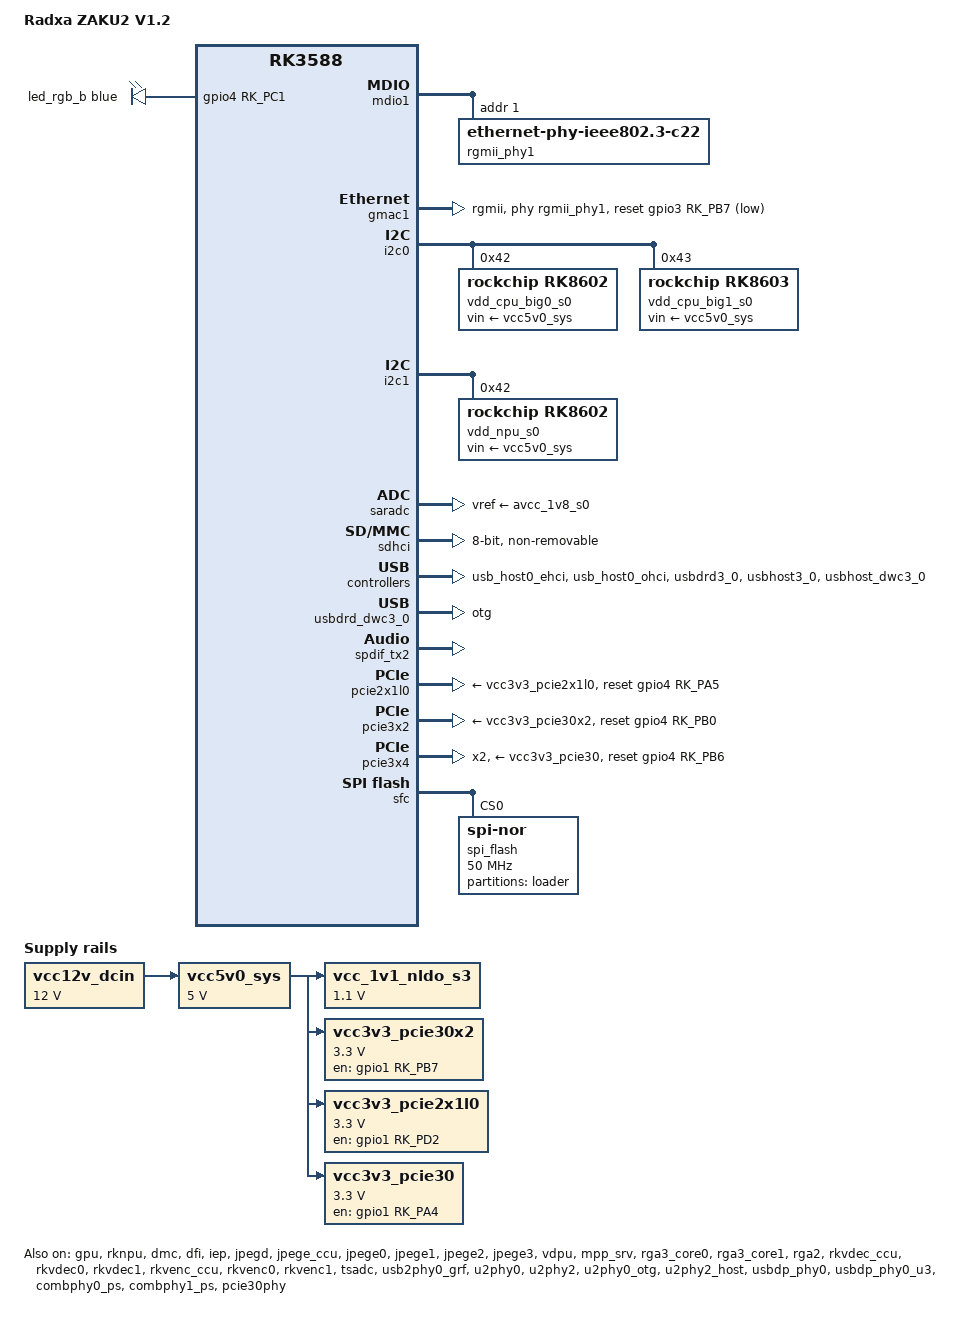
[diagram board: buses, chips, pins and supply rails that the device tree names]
// SPDX-License-Identifier: (GPL-2.0+ OR MIT)
/*
 * Copyright (c) 2023 Rockchip Electronics Co., Ltd.
 * Copyright (c) 2023 Radxa Limited
 *
 */

/dts-v1/;

#include <dt-bindings/gpio/gpio.h>
#include <dt-bindings/leds/common.h>
#include <dt-bindings/pwm/pwm.h>
#include <dt-bindings/pinctrl/rockchip.h>
#include <dt-bindings/input/rk-input.h>
#include <dt-bindings/display/drm_mipi_dsi.h>
#include <dt-bindings/display/rockchip_vop.h>
#include <dt-bindings/sensor-dev.h>
#include "dt-bindings/usb/pd.h"
#include "rk3588.dtsi"
#include "rk3588-rk806-single.dtsi"
#include "rk3588-linux.dtsi"

/ {
	model = "Radxa ZAKU2 V1.2";
	compatible = "radxa,zaku2", "rockchip,rk3588";

	/delete-node/ chosen;

	vcc12v_dcin: vcc12v-dcin {
		compatible = "regulator-fixed";
		regulator-name = "vcc12v_dcin";
		regulator-always-on;
		regulator-boot-on;
		regulator-min-microvolt = <12000000>;
		regulator-max-microvolt = <12000000>;
	};

	vcc5v0_sys: vcc5v0-sys {
		compatible = "regulator-fixed";
		regulator-name = "vcc5v0_sys";
		regulator-always-on;
		regulator-boot-on;
		regulator-min-microvolt = <5000000>;
		regulator-max-microvolt = <5000000>;
		vin-supply = <&vcc12v_dcin>;
	};

	vcc_1v1_nldo_s3: vcc-1v1-nldo-s3 {
		compatible = "regulator-fixed";
		regulator-name = "vcc_1v1_nldo_s3";
		regulator-always-on;
		regulator-boot-on;
		regulator-min-microvolt = <1100000>;
		regulator-max-microvolt = <1100000>;
		vin-supply = <&vcc5v0_sys>;
	};

	vcc3v3_pcie30x2: vcc3v3-pcie2x1l2 {
		compatible = "regulator-fixed";
		regulator-name = "vcc3v3_pcie2x1l2";
		regulator-min-microvolt = <3300000>;
		regulator-max-microvolt = <3300000>;
		enable-active-high;
		regulator-boot-on;
		regulator-always-on;
		gpios = <&gpio1 RK_PB7 GPIO_ACTIVE_HIGH>;
		startup-delay-us = <5000>;
		vin-supply = <&vcc5v0_sys>;
	};

	vcc3v3_pcie2x1l0: vcc3v3-pcie2x1l0 {
		compatible = "regulator-fixed";
		regulator-name = "vcc3v3_pcie2x1l0";
		regulator-min-microvolt = <3300000>;
		regulator-max-microvolt = <3300000>;
		enable-active-high;
		regulator-boot-on;
		regulator-always-on;
		gpios = <&gpio1 RK_PD2 GPIO_ACTIVE_HIGH>;
		startup-delay-us = <50000>;
		vin-supply = <&vcc5v0_sys>;
	};

	vcc3v3_pcie30: vcc3v3-pcie30 {
		compatible = "regulator-fixed";
		regulator-name = "vcc3v3_pcie30";
		regulator-min-microvolt = <3300000>;
		regulator-max-microvolt = <3300000>;
		enable-active-high;
		regulator-boot-on;
		regulator-always-on;
		gpios = <&gpio1 RK_PA4 GPIO_ACTIVE_HIGH>;
		startup-delay-us = <5000>;
		vin-supply = <&vcc5v0_sys>;
	};

	leds {
		compatible = "gpio-leds";
		pinctrl-names = "default";
		pinctrl-0 = <&led_rgb_b>;

		led_rgb_b {
			function = LED_FUNCTION_STATUS;
			color = <LED_COLOR_ID_BLUE>;
			gpios = <&gpio4 RK_PC1 GPIO_ACTIVE_HIGH>;
			linux,default-trigger = "heartbeat";
		};
	};
};

&cpu_l0 {
	cpu-supply = <&vdd_cpu_lit_s0>;
	mem-supply = <&vdd_cpu_lit_mem_s0>;
};

&cpu_b0 {
	cpu-supply = <&vdd_cpu_big0_s0>;
	mem-supply = <&vdd_cpu_big0_mem_s0>;
};

&cpu_b2 {
	cpu-supply = <&vdd_cpu_big1_s0>;
	mem-supply = <&vdd_cpu_big1_mem_s0>;
};

&gpu {
	mali-supply = <&vdd_gpu_s0>;
	mem-supply = <&vdd_gpu_mem_s0>;
	status = "okay";
};
//Ethernet gmac1
&mdio1 {
	rgmii_phy1: phy@1 {
		compatible = "ethernet-phy-ieee802.3-c22";
		reg = <0x1>;
	};
};

&gmac1 {
	status = "okay";
	phy-mode = "rgmii";
	clock_in_out = "output";

	snps,reset-gpio = <&gpio3 RK_PB7 GPIO_ACTIVE_LOW>;
	snps,reset-active-low;
	// Reset time is 20ms, 100ms for rtl8211f
	snps,reset-delays-us = <0 20000 100000>;

	pinctrl-names = "default";
	pinctrl-0 = <&gmac1_miim
		     &gmac1_tx_bus2
		     &gmac1_rx_bus2
		     &gmac1_rgmii_clk
		     &gmac1_rgmii_bus>;

	tx_delay = <0x3c>;
	rx_delay = <0x35>;

	phy-handle = <&rgmii_phy1>;
};

&rknpu {
	rknpu-supply = <&vdd_npu_s0>;
	mem-supply = <&vdd_npu_mem_s0>;
	status = "okay";
};

&rknpu_mmu {
	status = "okay";
};

&i2c0 {
	status = "okay";
	pinctrl-names = "default";
	pinctrl-0 = <&i2c0m2_xfer>;

	vdd_cpu_big0_s0: vdd_cpu_big0_mem_s0: rk8602@42 {
		compatible = "rockchip,rk8602";
		reg = <0x42>;
		vin-supply = <&vcc5v0_sys>;
		regulator-compatible = "rk860x-reg";
		regulator-name = "vdd_cpu_big0_s0";
		regulator-min-microvolt = <550000>;
		regulator-max-microvolt = <1050000>;
		regulator-ramp-delay = <2300>;
		rockchip,suspend-voltage-selector = <1>;
		regulator-boot-on;
		regulator-always-on;
		regulator-state-mem {
			regulator-off-in-suspend;
		};
	};

	vdd_cpu_big1_s0: vdd_cpu_big1_mem_s0: rk8603@43 {
		compatible = "rockchip,rk8603";
		reg = <0x43>;
		vin-supply = <&vcc5v0_sys>;
		regulator-compatible = "rk860x-reg";
		regulator-name = "vdd_cpu_big1_s0";
		regulator-min-microvolt = <550000>;
		regulator-max-microvolt = <1050000>;
		regulator-ramp-delay = <2300>;
		rockchip,suspend-voltage-selector = <1>;
		regulator-boot-on;
		regulator-always-on;
		regulator-state-mem {
			regulator-off-in-suspend;
		};
	};
};

&dmc {
	center-supply = <&vdd_ddr_s0>;
	mem-supply = <&vdd_log_s0>;
	status = "okay";
};

&dfi {
	status = "okay";
};

&i2c1 {
	status = "okay";
	pinctrl-names = "default";
	pinctrl-0 = <&i2c1m2_xfer>;

	vdd_npu_s0: vdd_npu_mem_s0: rk8602@42 {
		compatible = "rockchip,rk8602";
		reg = <0x42>;
		vin-supply = <&vcc5v0_sys>;
		regulator-compatible = "rk860x-reg";
		regulator-name = "vdd_npu_s0";
		regulator-min-microvolt = <550000>;
		regulator-max-microvolt = <950000>;
		regulator-ramp-delay = <2300>;
		rockchip,suspend-voltage-selector = <1>;
		regulator-boot-on;
		regulator-always-on;
		regulator-state-mem {
			regulator-off-in-suspend;
		};
	};
};

&iep {
	status = "okay";
};

&iep_mmu {
	status = "okay";
};

&jpegd {
	status = "okay";
};

&jpegd_mmu {
	status = "okay";
};

&jpege_ccu {
	status = "okay";
};

&jpege0 {
	status = "okay";
};

&jpege0_mmu {
	status = "okay";
};

&jpege1 {
	status = "okay";
};

&jpege1_mmu {
	status = "okay";
};

&jpege2 {
	status = "okay";
};

&jpege2_mmu {
	status = "okay";
};

&jpege3 {
	status = "okay";
};

&jpege3_mmu {
	status = "okay";
};

&vdpu {
	status = "okay";
};

&vdpu_mmu {
	status = "okay";
};

&mpp_srv {
	status = "okay";
};

&rga3_core0 {
	status = "okay";
};

&rga3_0_mmu {
	status = "okay";
};

&rga3_core1 {
	status = "okay";
};

&rga3_1_mmu {
	status = "okay";
};

&rga2 {
	status = "okay";
};

&rkvdec_ccu {
	status = "okay";
};

&rkvdec0 {
	status = "okay";
};

&rkvdec0_mmu {
	status = "okay";
};

&rkvdec1 {
	status = "okay";
};

&rkvdec1_mmu {
	status = "okay";
};

&rkvenc_ccu {
	status = "okay";
};

&rkvenc0 {
	status = "okay";
};

&rkvenc0_mmu {
	status = "okay";
};

&rkvenc1 {
	status = "okay";
};

&rkvenc1_mmu {
	status = "okay";
};

&saradc {
	status = "okay";
	vref-supply = <&avcc_1v8_s0>;
};

&sdhci {
	bus-width = <8>;
	no-sdio;
	no-sd;
	non-removable;
	max-frequency = <200000000>;
	mmc-hs400-1_8v;
	//mmc-hs400-enhanced-strobe;
	status = "okay";
};

&tsadc {
	status = "okay";
};

&usb2phy0_grf {
	status = "okay";
};

&u2phy0 {
	status = "okay";
};

&u2phy2 {
	status = "okay";
};

&u2phy0_otg {
	rockchip,sel-pipe-phystatus;
	rockchip,typec-vbus-det;
	status = "okay";
};

&u2phy2_host {
	status = "okay";
};

&usb_host0_ehci {
	status = "okay";
};

&usb_host0_ohci {
	status = "okay";
};

&usbdp_phy0 {
	status = "okay";
};

&usbdp_phy0_u3 {
	status = "okay";
};

&usbdrd3_0 {
	status = "okay";
};

&usbdrd_dwc3_0 {
	dr_mode = "otg";
	extcon = <&u2phy0>;
	status = "okay";
};

&usbhost3_0 {
	status = "okay";
};

&usbhost_dwc3_0 {
	status = "okay";
};

&spdif_tx2 {
	status = "okay";
};

&combphy0_ps {
	status = "okay";
};

&combphy1_ps {
	status = "okay";
};

&pcie2x1l0 {
	reset-gpios = <&gpio4 RK_PA5 GPIO_ACTIVE_HIGH>;
	vpcie3v3-supply = <&vcc3v3_pcie2x1l0>;
	status = "okay";
};

&pcie30phy {
	rockchip,pcie30-phymode = <PHY_MODE_PCIE_NANBNB>;
	status = "okay";
};

&pcie3x2 {
	reset-gpios = <&gpio4 RK_PB0 GPIO_ACTIVE_HIGH>;
	vpcie3v3-supply = <&vcc3v3_pcie30x2>;
	status = "okay";
};

&pcie3x4 {
	num-lanes = <2>;
	reset-gpios = <&gpio4 RK_PB6 GPIO_ACTIVE_HIGH>;
	vpcie3v3-supply = <&vcc3v3_pcie30>;
	status = "okay";
};

&sfc {
	status = "okay";
	max-freq = <50000000>;
	#address-cells = <1>;
	#size-cells = <0>;
	pinctrl-names = "default";
	pinctrl-0 = <&fspim1_pins>;

	spi_flash: spi-flash@0 {
		#address-cells = <1>;
		#size-cells = <0>;
		compatible = "jedec,spi-nor";
		reg = <0x0>;
		spi-max-frequency = <50000000>;
		spi-tx-bus-width = <1>;
		spi-rx-bus-width = <4>;
		status = "okay";

		partitions {
			compatible = "fixed-partitions";
			#address-cells = <1>;
			#size-cells = <1>;

			loader@0 {
				label = "loader";
				reg = <0x0 0x1000000>;
			};
		};
	};
};

&pinctrl {
	leds {
		led_rgb_b: led-rgb-b {
			rockchip,pins = <4 RK_PC1 RK_FUNC_GPIO &pcfg_pull_none>;
		};
	};
};
